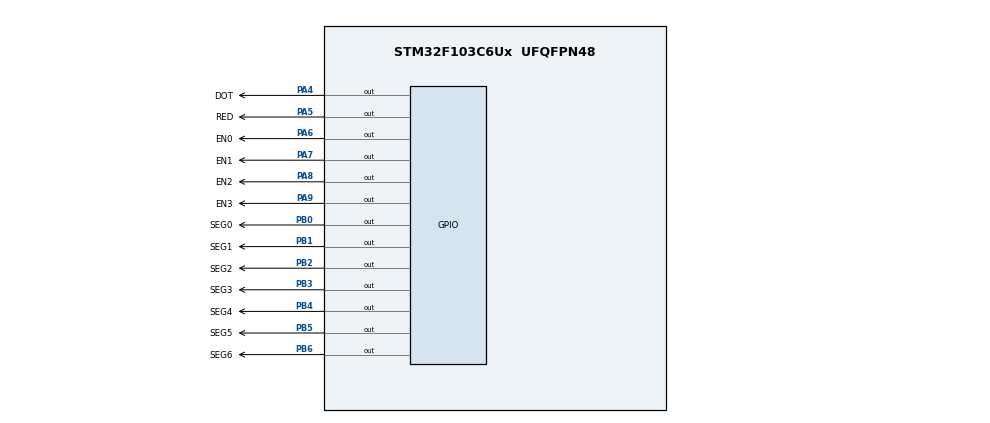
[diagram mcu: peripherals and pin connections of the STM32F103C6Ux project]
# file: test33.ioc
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Mcu.Family=STM32F1
Mcu.Name=STM32F103C6Ux
Mcu.Package=UFQFPN48
NVIC.PriorityGroup=NVIC_PRIORITYGROUP_4
NVIC.TIM2_IRQn=true\:0\:0\:false\:false\:true\:true\:true
PA4.GPIO_Label=DOT
PA4.Signal=GPIO_Output
PA5.GPIO_Label=RED
PA5.Signal=GPIO_Output
PA6.GPIO_Label=EN0
PA6.Signal=GPIO_Output
PA7.GPIO_Label=EN1
PA7.Signal=GPIO_Output
PA8.GPIO_Label=EN2
PA8.Signal=GPIO_Output
PA9.GPIO_Label=EN3
PA9.Signal=GPIO_Output
PB0.GPIO_Label=SEG0
PB0.Signal=GPIO_Output
PB1.GPIO_Label=SEG1
PB1.Signal=GPIO_Output
PB2.GPIO_Label=SEG2
PB2.Signal=GPIO_Output
PB3.GPIO_Label=SEG3
PB3.Signal=GPIO_Output
PB4.GPIO_Label=SEG4
PB4.Signal=GPIO_Output
PB5.GPIO_Label=SEG5
PB5.Signal=GPIO_Output
PB6.GPIO_Label=SEG6
PB6.Signal=GPIO_Output
ProjectManager.HeapSize=0x200
ProjectManager.StackSize=0x400
ProjectManager.TargetToolchain=STM32CubeIDE
RCC.APB1Freq_Value=8000000
RCC.APB2Freq_Value=8000000
TIM2.Period=9
TIM2.Prescaler=7999
VP_SYS_VS_ND.Mode=No_Debug
VP_TIM2_VS_ClockSourceINT.Mode=Internal
board=custom

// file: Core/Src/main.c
/* USER CODE BEGIN Header */
/**
  ******************************************************************************
  * @file           : main.c
  * @brief          : Main program body
  ******************************************************************************
  * @attention
  *
  * <h2><center>&copy; Copyright (c) 2024 STMicroelectronics.
  * All rights reserved.</center></h2>
  *
  * This software component is licensed by ST under BSD 3-Clause license,
  * the "License"; You may not use this file except in compliance with the
  * License. You may obtain a copy of the License at:
  *                        opensource.org/licenses/BSD-3-Clause
  *
  ******************************************************************************
  */
/* USER CODE END Header */
#include "main.h"

/* USER CODE BEGIN Includes */
#include "scheduler.h"
/* USER CODE END Includes */

TIM_HandleTypeDef htim2;

void SystemClock_Config(void);
static void MX_GPIO_Init(void);
static void MX_TIM2_Init(void);

/* USER CODE BEGIN 0 */
void HAL_TIM_PeriodElapsedCallback(TIM_HandleTypeDef *htim)
{
	SCH_Update();
}

const uint8_t seven_seg_digits[] = {
    0x3F, // 0
    0x06, // 1
    0x5B, // 2
    0x4F, // 3
    0x66, // 4
    0x6D, // 5
    0x7D, // 6
    0x07, // 7
    0x7F, // 8
    0x6F  // 9
};

void display7SEG(uint8_t number) {
    // Assuming the 7-segment display is connected to GPIO pins PB0-PB6

    // Determine which segments should be turned on based on the number
    uint8_t segments = seven_seg_digits[number];

    // Turn on the segments based on the pattern for the specified number
    HAL_GPIO_WritePin(GPIOB, SEG0_Pin, (segments & 0x01) ? GPIO_PIN_RESET : GPIO_PIN_SET);
    HAL_GPIO_WritePin(GPIOB, SEG1_Pin, ((segments >> 1) & 0x01) ? GPIO_PIN_RESET : GPIO_PIN_SET);
    HAL_GPIO_WritePin(GPIOB, SEG2_Pin, ((segments >> 2) & 0x01) ? GPIO_PIN_RESET : GPIO_PIN_SET);
    HAL_GPIO_WritePin(GPIOB, SEG3_Pin, ((segments >> 3) & 0x01) ? GPIO_PIN_RESET : GPIO_PIN_SET);
    HAL_GPIO_WritePin(GPIOB, SEG4_Pin, ((segments >> 4) & 0x01) ? GPIO_PIN_RESET : GPIO_PIN_SET);
    HAL_GPIO_WritePin(GPIOB, SEG5_Pin, ((segments >> 5) & 0x01) ? GPIO_PIN_RESET : GPIO_PIN_SET);
    HAL_GPIO_WritePin(GPIOB, SEG6_Pin, ((segments >> 6) & 0x01) ? GPIO_PIN_RESET : GPIO_PIN_SET);
}

const int MAX_LED_MATRIX = 4;
int index_led = 0;
int led_buffer[4] = {1,2,3,4};

void update7SEG(int index) {
	switch(index) {
		case 0:
			display7SEG(led_buffer[0]);
			HAL_GPIO_WritePin(GPIOA, EN0_Pin, GPIO_PIN_RESET);
			HAL_GPIO_WritePin(GPIOA, EN1_Pin|EN2_Pin|EN3_Pin, GPIO_PIN_SET);
			break;
		case 1:
			display7SEG(led_buffer[1]);
			HAL_GPIO_WritePin(GPIOA, EN1_Pin, GPIO_PIN_RESET);
			HAL_GPIO_WritePin(GPIOA, EN0_Pin|EN2_Pin|EN3_Pin, GPIO_PIN_SET);
			break;
		case 2:
			display7SEG(led_buffer[2]);
			HAL_GPIO_WritePin(GPIOA, EN2_Pin, GPIO_PIN_RESET);
			HAL_GPIO_WritePin(GPIOA, EN0_Pin|EN1_Pin|EN3_Pin, GPIO_PIN_SET);
			break;
		case 3:
			display7SEG(led_buffer[3]);
			HAL_GPIO_WritePin(GPIOA, EN3_Pin, GPIO_PIN_RESET);
			HAL_GPIO_WritePin(GPIOA, EN0_Pin|EN1_Pin|EN2_Pin, GPIO_PIN_SET);
			break;
		default:
			break;
	}
}

int hour = 15, minute = 59, second = 55;

void updateClockBuffer(){
	led_buffer[0] = hour / 10;
	led_buffer[1] = hour % 10;
	led_buffer[2] = minute / 10;
	led_buffer[3] = minute % 10;
}

// Define lab3 tasks
void LedBlinky(){
	HAL_GPIO_TogglePin(RED_GPIO_Port, RED_Pin);
}

void DoubleDot(){
	HAL_GPIO_TogglePin(DOT_GPIO_Port, DOT_Pin);
}

void updateClock() {
    second++;
    if (second >= 60) {
    	second = 0;
        minute++;

    }
    if (minute >= 60) {
    	minute = 0;
		hour++;
	}
    if (hour >= 24) {
    	hour = 0;
	}
    updateClockBuffer();
}

void LED7_Scan(){
	update7SEG(index_led++);
	if(index_led > 3)
		index_led = 0;
}

/* USER CODE END 0 */

int main(void)
{
  /* USER CODE BEGIN 1 */
	SCH_Add_Task(LedBlinky, 0, 100);
	SCH_Add_Task(DoubleDot, 0, 50);
	SCH_Add_Task(updateClock, 0, 100);
	SCH_Add_Task(LED7_Scan, 0, 25);

  /* USER CODE END 1 */

  /* MCU Configuration--------------------------------------------------------*/

  /* Reset of all peripherals, Initializes the Flash interface and the Systick. */
  HAL_Init();

  /* Configure the system clock */
  SystemClock_Config();

  /* Initialize all configured peripherals */
  MX_GPIO_Init();
  MX_TIM2_Init();
  /* USER CODE BEGIN 2 */
  HAL_TIM_Base_Start_IT(&htim2);
  /* USER CODE END 2 */

  /* Infinite loop */
  /* USER CODE BEGIN WHILE */
  while (1)
  {
	  SCH_Dispatch_Tasks();
    /* USER CODE END WHILE */

  }
}

void SystemClock_Config(void)
{
  RCC_OscInitTypeDef RCC_OscInitStruct = {0};
  RCC_ClkInitTypeDef RCC_ClkInitStruct = {0};

  /** Initializes the RCC Oscillators according to the specified parameters
  * in the RCC_OscInitTypeDef structure.
  */
  RCC_OscInitStruct.OscillatorType = RCC_OSCILLATORTYPE_HSI;
  RCC_OscInitStruct.HSIState = RCC_HSI_ON;
  RCC_OscInitStruct.HSICalibrationValue = RCC_HSICALIBRATION_DEFAULT;
  RCC_OscInitStruct.PLL.PLLState = RCC_PLL_NONE;
  if (HAL_RCC_OscConfig(&RCC_OscInitStruct) != HAL_OK)
  {
    Error_Handler();
  }
  /** Initializes the CPU, AHB and APB buses clocks
  */
  RCC_ClkInitStruct.ClockType = RCC_CLOCKTYPE_HCLK|RCC_CLOCKTYPE_SYSCLK
                              |RCC_CLOCKTYPE_PCLK1|RCC_CLOCKTYPE_PCLK2;
  RCC_ClkInitStruct.SYSCLKSource = RCC_SYSCLKSOURCE_HSI;
  RCC_ClkInitStruct.AHBCLKDivider = RCC_SYSCLK_DIV1;
  RCC_ClkInitStruct.APB1CLKDivider = RCC_HCLK_DIV1;
  RCC_ClkInitStruct.APB2CLKDivider = RCC_HCLK_DIV1;

  if (HAL_RCC_ClockConfig(&RCC_ClkInitStruct, FLASH_LATENCY_0) != HAL_OK)
  {
    Error_Handler();
  }
}

static void MX_TIM2_Init(void)
{

  TIM_ClockConfigTypeDef sClockSourceConfig = {0};
  TIM_MasterConfigTypeDef sMasterConfig = {0};

  htim2.Instance = TIM2;
  htim2.Init.Prescaler = 7999;
  htim2.Init.CounterMode = TIM_COUNTERMODE_UP;
  htim2.Init.Period = 9;
  htim2.Init.ClockDivision = TIM_CLOCKDIVISION_DIV1;
  htim2.Init.AutoReloadPreload = TIM_AUTORELOAD_PRELOAD_DISABLE;
  if (HAL_TIM_Base_Init(&htim2) != HAL_OK)
  {
    Error_Handler();
  }
  sClockSourceConfig.ClockSource = TIM_CLOCKSOURCE_INTERNAL;
  if (HAL_TIM_ConfigClockSource(&htim2, &sClockSourceConfig) != HAL_OK)
  {
    Error_Handler();
  }
  sMasterConfig.MasterOutputTrigger = TIM_TRGO_RESET;
  sMasterConfig.MasterSlaveMode = TIM_MASTERSLAVEMODE_DISABLE;
  if (HAL_TIMEx_MasterConfigSynchronization(&htim2, &sMasterConfig) != HAL_OK)
  {
    Error_Handler();
  }

}

static void MX_GPIO_Init(void)
{
  GPIO_InitTypeDef GPIO_InitStruct = {0};

  /* GPIO Ports Clock Enable */
  __HAL_RCC_GPIOA_CLK_ENABLE();
  __HAL_RCC_GPIOB_CLK_ENABLE();

  /*Configure GPIO pin Output Level */
  HAL_GPIO_WritePin(GPIOA, DOT_Pin|RED_Pin|EN0_Pin|EN1_Pin
                          |EN2_Pin|EN3_Pin, GPIO_PIN_SET);

  /*Configure GPIO pin Output Level */
  HAL_GPIO_WritePin(GPIOB, SEG0_Pin|SEG1_Pin|SEG2_Pin|SEG3_Pin
                          |SEG4_Pin|SEG5_Pin|SEG6_Pin, GPIO_PIN_SET);

  /*Configure GPIO pins : DOT_Pin RED_Pin EN0_Pin EN1_Pin
                           EN2_Pin EN3_Pin */
  GPIO_InitStruct.Pin = DOT_Pin|RED_Pin|EN0_Pin|EN1_Pin
                          |EN2_Pin|EN3_Pin;
  GPIO_InitStruct.Mode = GPIO_MODE_OUTPUT_PP;
  GPIO_InitStruct.Pull = GPIO_NOPULL;
  GPIO_InitStruct.Speed = GPIO_SPEED_FREQ_LOW;
  HAL_GPIO_Init(GPIOA, &GPIO_InitStruct);

  /*Configure GPIO pins : SEG0_Pin SEG1_Pin SEG2_Pin SEG3_Pin
                           SEG4_Pin SEG5_Pin SEG6_Pin */
  GPIO_InitStruct.Pin = SEG0_Pin|SEG1_Pin|SEG2_Pin|SEG3_Pin
                          |SEG4_Pin|SEG5_Pin|SEG6_Pin;
  GPIO_InitStruct.Mode = GPIO_MODE_OUTPUT_PP;
  GPIO_InitStruct.Pull = GPIO_NOPULL;
  GPIO_InitStruct.Speed = GPIO_SPEED_FREQ_LOW;
  HAL_GPIO_Init(GPIOB, &GPIO_InitStruct);

}

void Error_Handler(void)
{
  __disable_irq();
  while (1)
  {
  }
}

/************************ (C) COPYRIGHT STMicroelectronics *****END OF FILE****/
